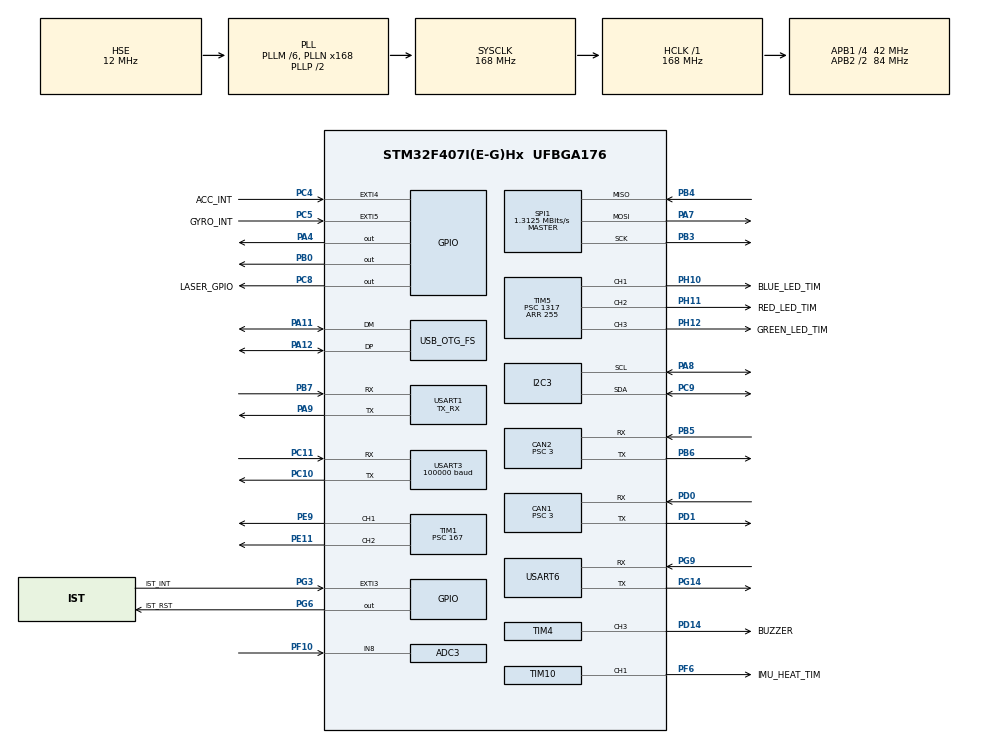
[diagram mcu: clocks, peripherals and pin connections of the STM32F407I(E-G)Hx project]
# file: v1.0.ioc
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ADC3.Channel-0\#ChannelRegularConversion=ADC_CHANNEL_8
ADC3.NbrOfConversionFlag=1
ADC3.Rank-0\#ChannelRegularConversion=1
ADC3.SamplingTime-0\#ChannelRegularConversion=ADC_SAMPLETIME_3CYCLES
CAN1.BS1=CAN_BS1_9TQ
CAN1.BS2=CAN_BS2_4TQ
CAN1.CalculateBaudRate=1000000
CAN1.CalculateTimeBit=1000
CAN1.CalculateTimeQuantum=71.42857142857143
CAN1.Mode=CAN_MODE_NORMAL
CAN1.NART=DISABLE
CAN1.Prescaler=3
CAN2.BS1=CAN_BS1_9TQ
CAN2.BS2=CAN_BS2_4TQ
CAN2.CalculateBaudRate=1000000
CAN2.CalculateTimeBit=1000
CAN2.CalculateTimeQuantum=71.42857142857143
CAN2.Prescaler=3
Dma.I2C3_RX.3.Direction=DMA_PERIPH_TO_MEMORY
Dma.I2C3_RX.3.FIFOMode=DMA_FIFOMODE_DISABLE
Dma.I2C3_RX.3.Instance=DMA1_Stream2
Dma.I2C3_RX.3.MemDataAlignment=DMA_MDATAALIGN_BYTE
Dma.I2C3_RX.3.MemInc=DMA_MINC_ENABLE
Dma.I2C3_RX.3.Mode=DMA_NORMAL
Dma.I2C3_RX.3.PeriphDataAlignment=DMA_PDATAALIGN_BYTE
Dma.I2C3_RX.3.PeriphInc=DMA_PINC_DISABLE
Dma.I2C3_RX.3.Priority=DMA_PRIORITY_LOW
Dma.I2C3_TX.4.Direction=DMA_MEMORY_TO_PERIPH
Dma.I2C3_TX.4.FIFOMode=DMA_FIFOMODE_DISABLE
Dma.I2C3_TX.4.Instance=DMA1_Stream4
Dma.I2C3_TX.4.MemDataAlignment=DMA_MDATAALIGN_BYTE
Dma.I2C3_TX.4.MemInc=DMA_MINC_ENABLE
Dma.I2C3_TX.4.Mode=DMA_NORMAL
Dma.I2C3_TX.4.PeriphDataAlignment=DMA_PDATAALIGN_BYTE
Dma.I2C3_TX.4.PeriphInc=DMA_PINC_DISABLE
Dma.I2C3_TX.4.Priority=DMA_PRIORITY_LOW
Dma.Request0=USART6_RX
Dma.Request1=USART3_RX
Dma.Request2=USART1_RX
Dma.Request3=I2C3_RX
Dma.Request4=I2C3_TX
Dma.Request5=SPI1_RX
Dma.Request6=SPI1_TX
Dma.Request7=USART6_TX
Dma.SPI1_RX.5.Direction=DMA_PERIPH_TO_MEMORY
Dma.SPI1_RX.5.FIFOMode=DMA_FIFOMODE_DISABLE
Dma.SPI1_RX.5.Instance=DMA2_Stream0
Dma.SPI1_RX.5.MemDataAlignment=DMA_MDATAALIGN_BYTE
Dma.SPI1_RX.5.MemInc=DMA_MINC_ENABLE
Dma.SPI1_RX.5.Mode=DMA_NORMAL
Dma.SPI1_RX.5.PeriphDataAlignment=DMA_PDATAALIGN_BYTE
Dma.SPI1_RX.5.PeriphInc=DMA_PINC_DISABLE
Dma.SPI1_RX.5.Priority=DMA_PRIORITY_LOW
Dma.SPI1_TX.6.Direction=DMA_MEMORY_TO_PERIPH
Dma.SPI1_TX.6.FIFOMode=DMA_FIFOMODE_DISABLE
Dma.SPI1_TX.6.Instance=DMA2_Stream3
Dma.SPI1_TX.6.MemDataAlignment=DMA_MDATAALIGN_BYTE
Dma.SPI1_TX.6.MemInc=DMA_MINC_ENABLE
Dma.SPI1_TX.6.Mode=DMA_NORMAL
Dma.SPI1_TX.6.PeriphDataAlignment=DMA_PDATAALIGN_BYTE
Dma.SPI1_TX.6.PeriphInc=DMA_PINC_DISABLE
Dma.SPI1_TX.6.Priority=DMA_PRIORITY_LOW
Dma.USART1_RX.2.Direction=DMA_PERIPH_TO_MEMORY
Dma.USART1_RX.2.FIFOMode=DMA_FIFOMODE_DISABLE
Dma.USART1_RX.2.Instance=DMA2_Stream5
Dma.USART1_RX.2.MemDataAlignment=DMA_MDATAALIGN_BYTE
Dma.USART1_RX.2.MemInc=DMA_MINC_ENABLE
Dma.USART1_RX.2.Mode=DMA_CIRCULAR
Dma.USART1_RX.2.PeriphDataAlignment=DMA_PDATAALIGN_BYTE
Dma.USART1_RX.2.PeriphInc=DMA_PINC_DISABLE
Dma.USART1_RX.2.Priority=DMA_PRIORITY_LOW
Dma.USART3_RX.1.Direction=DMA_PERIPH_TO_MEMORY
Dma.USART3_RX.1.FIFOMode=DMA_FIFOMODE_DISABLE
Dma.USART3_RX.1.Instance=DMA1_Stream1
Dma.USART3_RX.1.MemDataAlignment=DMA_MDATAALIGN_BYTE
Dma.USART3_RX.1.MemInc=DMA_MINC_ENABLE
Dma.USART3_RX.1.Mode=DMA_CIRCULAR
Dma.USART3_RX.1.PeriphDataAlignment=DMA_PDATAALIGN_BYTE
Dma.USART3_RX.1.PeriphInc=DMA_PINC_DISABLE
Dma.USART3_RX.1.Priority=DMA_PRIORITY_LOW
Dma.USART6_RX.0.Direction=DMA_PERIPH_TO_MEMORY
Dma.USART6_RX.0.FIFOMode=DMA_FIFOMODE_DISABLE
Dma.USART6_RX.0.Instance=DMA2_Stream1
Dma.USART6_RX.0.MemDataAlignment=DMA_MDATAALIGN_BYTE
Dma.USART6_RX.0.MemInc=DMA_MINC_ENABLE
Dma.USART6_RX.0.Mode=DMA_CIRCULAR
Dma.USART6_RX.0.PeriphDataAlignment=DMA_PDATAALIGN_BYTE
Dma.USART6_RX.0.PeriphInc=DMA_PINC_DISABLE
Dma.USART6_RX.0.Priority=DMA_PRIORITY_LOW
Dma.USART6_TX.7.Direction=DMA_MEMORY_TO_PERIPH
Dma.USART6_TX.7.FIFOMode=DMA_FIFOMODE_DISABLE
Dma.USART6_TX.7.Instance=DMA2_Stream6
Dma.USART6_TX.7.MemDataAlignment=DMA_MDATAALIGN_BYTE
Dma.USART6_TX.7.MemInc=DMA_MINC_ENABLE
Dma.USART6_TX.7.Mode=DMA_NORMAL
Dma.USART6_TX.7.PeriphDataAlignment=DMA_PDATAALIGN_BYTE
Dma.USART6_TX.7.PeriphInc=DMA_PINC_DISABLE
Dma.USART6_TX.7.Priority=DMA_PRIORITY_LOW
FREERTOS.INCLUDE_vTaskDelayUntil=1
FREERTOS.INCLUDE_xEventGroupSetBitFromISR=1
FREERTOS.INCLUDE_xTimerPendFunctionCall=1
FREERTOS.Tasks01=defaultTask,0,256,StartDefaultTask,Default,NULL,Dynamic,NULL,NULL
FREERTOS.configCHECK_FOR_STACK_OVERFLOW=1
FREERTOS.configGENERATE_RUN_TIME_STATS=1
FREERTOS.configMAX_PRIORITIES=15
FREERTOS.configMINIMAL_STACK_SIZE=256
FREERTOS.configTOTAL_HEAP_SIZE=40000
FREERTOS.configUSE_NEWLIB_REENTRANT=1
FREERTOS.configUSE_STATS_FORMATTING_FUNCTIONS=1
FREERTOS.configUSE_TIMERS=1
FREERTOS.configUSE_TRACE_FACILITY=1
I2C3.I2C_Mode=I2C_Fast
Mcu.Family=STM32F4
Mcu.Name=STM32F407I(E-G)Hx
Mcu.Package=UFBGA176
NVIC.CAN1_RX0_IRQn=true\:5\:0\:false\:false\:true\:true\:true\:true\:true
NVIC.CAN1_RX1_IRQn=true\:5\:0\:false\:false\:true\:true\:true\:true\:true
NVIC.CAN2_RX0_IRQn=true\:5\:0\:false\:false\:true\:true\:true\:true\:true
NVIC.CAN2_RX1_IRQn=true\:5\:0\:false\:false\:true\:true\:true\:true\:true
NVIC.DMA1_Stream1_IRQn=true\:5\:0\:false\:false\:true\:true\:false\:true\:true
NVIC.DMA1_Stream2_IRQn=true\:5\:0\:false\:false\:true\:true\:false\:true\:true
NVIC.DMA1_Stream4_IRQn=true\:5\:0\:false\:false\:true\:true\:false\:true\:true
NVIC.DMA2_Stream0_IRQn=true\:5\:0\:false\:false\:true\:true\:false\:true\:true
NVIC.DMA2_Stream1_IRQn=true\:5\:0\:false\:false\:true\:true\:false\:true\:true
NVIC.DMA2_Stream3_IRQn=true\:5\:0\:false\:false\:true\:true\:false\:true\:true
NVIC.DMA2_Stream5_IRQn=true\:5\:0\:false\:false\:true\:false\:false\:true\:true
NVIC.DMA2_Stream6_IRQn=true\:5\:0\:false\:false\:true\:true\:false\:true\:true
NVIC.EXTI3_IRQn=true\:5\:0\:false\:false\:true\:true\:true\:true\:true
NVIC.EXTI4_IRQn=true\:5\:0\:false\:false\:true\:true\:true\:true\:true
NVIC.EXTI9_5_IRQn=true\:5\:0\:false\:false\:true\:true\:true\:true\:true
NVIC.I2C3_ER_IRQn=true\:5\:0\:false\:false\:true\:true\:true\:true\:true
NVIC.OTG_FS_IRQn=true\:5\:0\:false\:false\:true\:true\:false\:true\:true
NVIC.PriorityGroup=NVIC_PRIORITYGROUP_4
NVIC.TIM2_IRQn=true\:0\:0\:false\:false\:true\:false\:false\:true\:true
NVIC.TIM3_IRQn=true\:5\:0\:false\:false\:true\:true\:true\:true\:true
NVIC.TimeBase=TIM2_IRQn
NVIC.TimeBaseIP=TIM2
NVIC.USART1_IRQn=true\:5\:0\:false\:false\:true\:true\:true\:true\:true
NVIC.USART3_IRQn=true\:5\:0\:false\:false\:true\:true\:true\:true\:true
NVIC.USART6_IRQn=true\:5\:0\:false\:false\:true\:true\:true\:true\:true
PA11.Mode=Device_Only
PA11.Signal=USB_OTG_FS_DM
PA12.Mode=Device_Only
PA12.Signal=USB_OTG_FS_DP
PA13.Mode=Serial_Wire
PA13.Signal=SYS_JTMS-SWDIO
PA14.Mode=Serial_Wire
PA14.Signal=SYS_JTCK-SWCLK
PA4.PinState=GPIO_PIN_SET
PA4.Signal=GPIO_Output
PA7.Mode=Full_Duplex_Master
PA7.Signal=SPI1_MOSI
PA8.GPIO_Pu=GPIO_PULLUP
PA8.Mode=I2C
PA8.Signal=I2C3_SCL
PA9.Mode=Asynchronous
PA9.Signal=USART1_TX
PB0.PinState=GPIO_PIN_SET
PB0.Signal=GPIO_Output
PB3.Mode=Full_Duplex_Master
PB3.Signal=SPI1_SCK
PB4.Mode=Full_Duplex_Master
PB4.Signal=SPI1_MISO
PB5.Mode=CAN_Activate
PB5.Signal=CAN2_RX
PB6.Mode=CAN_Activate
PB6.Signal=CAN2_TX
PB7.GPIO_PuPd=GPIO_NOPULL
PB7.Mode=Asynchronous
PB7.Signal=USART1_RX
PC10.Mode=Asynchronous
PC10.Signal=USART3_TX
PC11.Mode=Asynchronous
PC11.Signal=USART3_RX
PC4.GPIO_Label=ACC_INT
PC4.GPIO_ModeDefaultEXTI=GPIO_MODE_IT_FALLING
PC4.GPIO_PuPd=GPIO_PULLUP
PC4.Signal=GPXTI4
PC5.GPIO_Label=GYRO_INT
PC5.GPIO_ModeDefaultEXTI=GPIO_MODE_IT_FALLING
PC5.GPIO_PuPd=GPIO_PULLUP
PC5.Signal=GPXTI5
PC8.GPIO_Label=LASER_GPIO
PC8.PinState=GPIO_PIN_RESET
PC8.Signal=GPIO_Output
PC9.GPIO_Pu=GPIO_PULLUP
PC9.Mode=I2C
PC9.Signal=I2C3_SDA
PD0.Mode=CAN_Activate
PD0.Signal=CAN1_RX
PD1.Mode=CAN_Activate
PD1.Signal=CAN1_TX
PD14.GPIO_Label=BUZZER
PD14.Signal=S_TIM4_CH3
PE11.Signal=S_TIM1_CH2
PE9.Signal=S_TIM1_CH1
PF10.Mode=IN8
PF10.Signal=ADC3_IN8
PF6.GPIO_Label=IMU_HEAT_TIM
PF6.Signal=S_TIM10_CH1
PG14.Mode=Asynchronous
PG14.Signal=USART6_TX
PG3.GPIO_Label=IST_INT
PG3.GPIO_ModeDefaultEXTI=GPIO_MODE_IT_FALLING
PG3.GPIO_PuPd=GPIO_PULLUP
PG3.Signal=GPXTI3
PG6.GPIO_Label=IST_RST
PG6.Signal=GPIO_Output
PG9.Mode=Asynchronous
PG9.Signal=USART6_RX
PH0-OSC_IN.Mode=HSE-External-Oscillator
PH0-OSC_IN.Signal=RCC_OSC_IN
PH1-OSC_OUT.Mode=HSE-External-Oscillator
PH1-OSC_OUT.Signal=RCC_OSC_OUT
PH10.GPIO_Label=BLUE_LED_TIM
PH10.Signal=S_TIM5_CH1
PH11.GPIO_Label=RED_LED_TIM
PH11.Signal=S_TIM5_CH2
PH12.GPIO_Label=GREEN_LED_TIM
PH12.Signal=S_TIM5_CH3
ProjectManager.HeapSize=0x2000
ProjectManager.StackSize=0x4000
ProjectManager.TargetToolchain=STM32CubeIDE
RCC.48MHZClocksFreq_Value=48000000
RCC.AHBFreq_Value=168000000
RCC.APB1CLKDivider=RCC_HCLK_DIV4
RCC.APB1Freq_Value=42000000
RCC.APB1TimFreq_Value=84000000
RCC.APB2CLKDivider=RCC_HCLK_DIV2
RCC.APB2Freq_Value=84000000
RCC.APB2TimFreq_Value=168000000
RCC.CortexFreq_Value=168000000
RCC.HCLKFreq_Value=168000000
RCC.HSE_VALUE=12000000
RCC.HSI_VALUE=16000000
RCC.LSE_VALUE=32768
RCC.PLLM=6
RCC.PLLN=168
RCC.PLLQ=7
RCC.SYSCLKFreq_VALUE=168000000
RCC.SYSCLKSource=RCC_SYSCLKSOURCE_PLLCLK
RCC.VCOOutputFreq_Value=336000000
SH.S_TIM10_CH1.0=TIM10_CH1,PWM Generation1 CH1
SH.S_TIM1_CH1.0=TIM1_CH1,PWM Generation1 CH1
SH.S_TIM1_CH2.0=TIM1_CH2,PWM Generation2 CH2
SH.S_TIM4_CH3.0=TIM4_CH3,PWM Generation3 CH3
SH.S_TIM5_CH1.0=TIM5_CH1,PWM Generation1 CH1
SH.S_TIM5_CH2.0=TIM5_CH2,PWM Generation2 CH2
SH.S_TIM5_CH3.0=TIM5_CH3,PWM Generation3 CH3
SPI1.BaudRatePrescaler=SPI_BAUDRATEPRESCALER_64
SPI1.CalculateBaudRate=1.3125 MBits/s
SPI1.Direction=SPI_DIRECTION_2LINES
SPI1.Mode=SPI_MODE_MASTER
SPI1.VirtualType=VM_MASTER
TIM1.Channel-PWM\ Generation1\ CH1=TIM_CHANNEL_1
TIM1.Channel-PWM\ Generation2\ CH2=TIM_CHANNEL_2
TIM1.Period=19999
TIM1.Prescaler=167
TIM10.Channel=TIM_CHANNEL_1
TIM3.Channel-Output\ Compare1\ No\ Output=TIM_CHANNEL_1
TIM3.Period=1
TIM3.Prescaler=168-1
TIM4.Channel-PWM\ Generation3\ CH3=TIM_CHANNEL_3
TIM4.Period=1000-1
TIM4.Prescaler=1000-1
TIM5.AutoReloadPreload=TIM_AUTORELOAD_PRELOAD_ENABLE
TIM5.Channel-PWM\ Generation1\ CH1=TIM_CHANNEL_1
TIM5.Channel-PWM\ Generation2\ CH2=TIM_CHANNEL_2
TIM5.Channel-PWM\ Generation3\ CH3=TIM_CHANNEL_3
TIM5.OCFastMode_PWM-PWM\ Generation1\ CH1=TIM_OCFAST_ENABLE
TIM5.OCFastMode_PWM-PWM\ Generation2\ CH2=TIM_OCFAST_ENABLE
TIM5.OCFastMode_PWM-PWM\ Generation3\ CH3=TIM_OCFAST_ENABLE
TIM5.OCMode_PWM-PWM\ Generation2\ CH2=TIM_OCMODE_PWM1
TIM5.OCPolarity_1=TIM_OCPOLARITY_LOW
TIM5.OCPolarity_2=TIM_OCPOLARITY_LOW
TIM5.OCPolarity_3=TIM_OCPOLARITY_LOW
TIM5.Period=255
TIM5.Prescaler=1317
USART1.Mode=MODE_TX_RX
USART1.VirtualMode=VM_ASYNC
USART3.BaudRate=100000
USART3.Parity=PARITY_EVEN
USART3.VirtualMode=VM_ASYNC
USART3.WordLength=WORDLENGTH_9B
USART6.VirtualMode=VM_ASYNC
USB_DEVICE.CLASS_NAME_FS=CDC
USB_DEVICE.VirtualMode-CDC_FS=Cdc
USB_DEVICE.VirtualModeFS=Cdc_FS
USB_OTG_FS.VirtualMode=Device_Only
VP_FREERTOS_VS_CMSIS_V1.Mode=CMSIS_V1
VP_RNG_VS_RNG.Mode=RNG_Activate
VP_SYS_VS_tim2.Mode=TIM2
VP_TIM10_VS_ClockSourceINT.Mode=Enable_Timer
VP_TIM3_VS_ClockSourceINT.Mode=Internal
VP_TIM3_VS_no_output1.Mode=Output Compare1 No Output
VP_USB_DEVICE_VS_USB_DEVICE_CDC_FS.Mode=CDC_FS
board=custom

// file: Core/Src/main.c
/* USER CODE BEGIN Header */
/**
  ******************************************************************************
  * @file           : main.c
  * @brief          : Main program body
  ******************************************************************************
  * @attention
  *
  * <h2><center>&copy; Copyright (c) 2021 STMicroelectronics.
  * All rights reserved.</center></h2>
  *
  * This software component is licensed by ST under Ultimate Liberty license
  * SLA0044, the "License"; You may not use this file except in compliance with
  * the License. You may obtain a copy of the License at:
  *                             www.st.com/SLA0044
  *
  ******************************************************************************
  */
/* USER CODE END Header */
#include "main.h"
#include "cmsis_os.h"
#include "adc.h"
#include "can.h"
#include "dma.h"
#include "i2c.h"
#include "rng.h"
#include "spi.h"
#include "tim.h"
#include "usart.h"
#include "usb_device.h"
#include "gpio.h"

/* USER CODE BEGIN Includes */
#include "board_lib.h"
#include "startup_task.h"
/* USER CODE END Includes */

void SystemClock_Config(void);
void MX_FREERTOS_Init(void);

int main(void)
{

  /* MCU Configuration--------------------------------------------------------*/

  /* Reset of all peripherals, Initializes the Flash interface and the Systick. */
  HAL_Init();

  /* Configure the system clock */
  SystemClock_Config();

  /* Initialize all configured peripherals */
  MX_GPIO_Init();
  MX_DMA_Init();
  MX_CAN1_Init();
  MX_CAN2_Init();
  MX_TIM5_Init();
  MX_TIM10_Init();
  MX_USART1_UART_Init();
  MX_USART3_UART_Init();
  MX_USART6_UART_Init();
  MX_SPI1_Init();
  MX_I2C3_Init();
  MX_ADC3_Init();
  MX_TIM3_Init();
  MX_TIM4_Init();
  MX_TIM1_Init();
  MX_RNG_Init();
  /* USER CODE BEGIN 2 */
  startup_task();
  HAL_TIM_Base_Start(&htim3); //start micros clock
//  HAL_RNG_GenerateRandomNumber(hrng, random32bit)
  /* USER CODE END 2 */

  /* Call init function for freertos objects (in freertos.c) */
  MX_FREERTOS_Init();

  /* Start scheduler */
  osKernelStart();
  /* We should never get here as control is now taken by the scheduler */
  /* Infinite loop */
  while (1)
  {

  }
}

void SystemClock_Config(void)
{
  RCC_OscInitTypeDef RCC_OscInitStruct = {0};
  RCC_ClkInitTypeDef RCC_ClkInitStruct = {0};

  /** Configure the main internal regulator output voltage
  */
  __HAL_RCC_PWR_CLK_ENABLE();
  __HAL_PWR_VOLTAGESCALING_CONFIG(PWR_REGULATOR_VOLTAGE_SCALE1);

  /** Initializes the RCC Oscillators according to the specified parameters
  * in the RCC_OscInitTypeDef structure.
  */
  RCC_OscInitStruct.OscillatorType = RCC_OSCILLATORTYPE_HSE;
  RCC_OscInitStruct.HSEState = RCC_HSE_ON;
  RCC_OscInitStruct.PLL.PLLState = RCC_PLL_ON;
  RCC_OscInitStruct.PLL.PLLSource = RCC_PLLSOURCE_HSE;
  RCC_OscInitStruct.PLL.PLLM = 6;
  RCC_OscInitStruct.PLL.PLLN = 168;
  RCC_OscInitStruct.PLL.PLLP = RCC_PLLP_DIV2;
  RCC_OscInitStruct.PLL.PLLQ = 7;
  if (HAL_RCC_OscConfig(&RCC_OscInitStruct) != HAL_OK)
  {
    Error_Handler();
  }

  /** Initializes the CPU, AHB and APB buses clocks
  */
  RCC_ClkInitStruct.ClockType = RCC_CLOCKTYPE_HCLK|RCC_CLOCKTYPE_SYSCLK
                              |RCC_CLOCKTYPE_PCLK1|RCC_CLOCKTYPE_PCLK2;
  RCC_ClkInitStruct.SYSCLKSource = RCC_SYSCLKSOURCE_PLLCLK;
  RCC_ClkInitStruct.AHBCLKDivider = RCC_SYSCLK_DIV1;
  RCC_ClkInitStruct.APB1CLKDivider = RCC_HCLK_DIV4;
  RCC_ClkInitStruct.APB2CLKDivider = RCC_HCLK_DIV2;

  if (HAL_RCC_ClockConfig(&RCC_ClkInitStruct, FLASH_LATENCY_5) != HAL_OK)
  {
    Error_Handler();
  }
}

void HAL_TIM_PeriodElapsedCallback(TIM_HandleTypeDef *htim)
{
  if (htim->Instance == TIM2) {
    HAL_IncTick();
  }
}

void Error_Handler(void)
{
  __disable_irq();
  while (1)
  {
  }
}

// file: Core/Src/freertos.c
/* USER CODE BEGIN Header */
/**
 ******************************************************************************
 * File Name          : freertos.c
 * Description        : Code for freertos applications
 ******************************************************************************
 * @attention
 *
 * <h2><center>&copy; Copyright (c) 2021 STMicroelectronics.
 * All rights reserved.</center></h2>
 *
 * This software component is licensed by ST under Ultimate Liberty license
 * SLA0044, the "License"; You may not use this file except in compliance with
 * the License. You may obtain a copy of the License at:
 *                             www.st.com/SLA0044
 *
 ******************************************************************************
 */
/* USER CODE END Header */

#include "FreeRTOS.h"
#include "task.h"
#include "main.h"
#include "cmsis_os.h"

/* USER CODE BEGIN Includes */

#include "board_lib.h"
#include "startup_task.h"
#include "gimbal_control_task.h"
#include "movement_control_task.h"
#include "referee_processing_task.h"
#include "control_input_task.h"
#include "launcher_control_task.h"
#include "imu_processing_task.h"
#include "robot_config.h"
#include "buzzing_task.h"
#include "motor_config.h"

/* USER CODE END Includes */

/* USER CODE BEGIN PD */
//FreeRTOS definitions
#define ISR_SEMAPHORE_COUNT 1
#define QUEUE_SIZE 1

/* USER CODE END PD */

/* USER CODE BEGIN Variables */

//Input control task definitions
TaskHandle_t gimbal_control_task_handle;
TaskHandle_t movement_control_task_handle;
TaskHandle_t referee_processing_task_handle;
TaskHandle_t control_input_task_handle;
TaskHandle_t launcher_control_task_handle;
TaskHandle_t buzzing_task_handle;
TaskHandle_t motor_calib_task_handle;
TaskHandle_t usb_task_handle;
TaskHandle_t imu_processing_task_handle;
TaskHandle_t telemetry_task_handle;
TaskHandle_t hud_task_handle;

EventGroupHandle_t gimbal_event_group;
EventGroupHandle_t chassis_event_group;
EventGroupHandle_t launcher_event_group;

SemaphoreHandle_t usb_continue_semaphore;

QueueHandle_t gyro_data_queue;
QueueHandle_t accel_data_queue;
QueueHandle_t mag_data_queue;

QueueHandle_t telem_data_queue;
QueueHandle_t buzzing_task_msg;
QueueHandle_t xvr_data_queue;
QueueHandle_t uart_data_queue;

/* USER CODE END Variables */
osThreadId defaultTaskHandle;

void StartDefaultTask(void const * argument);

extern void MX_USB_DEVICE_Init(void);
void MX_FREERTOS_Init(void); /* (MISRA C 2004 rule 8.1) */

/* GetIdleTaskMemory prototype (linked to static allocation support) */
void vApplicationGetIdleTaskMemory( StaticTask_t **ppxIdleTaskTCBBuffer, StackType_t **ppxIdleTaskStackBuffer, uint32_t *pulIdleTaskStackSize );

/* GetTimerTaskMemory prototype (linked to static allocation support) */
void vApplicationGetTimerTaskMemory( StaticTask_t **ppxTimerTaskTCBBuffer, StackType_t **ppxTimerTaskStackBuffer, uint32_t *pulTimerTaskStackSize );

/* Hook prototypes */
void configureTimerForRunTimeStats(void);
unsigned long getRunTimeCounterValue(void);
void vApplicationStackOverflowHook(xTaskHandle xTask, signed char *pcTaskName);

/* USER CODE BEGIN 1 */
/* Functions needed when configGENERATE_RUN_TIME_STATS is on */
__weak void configureTimerForRunTimeStats(void) {

}

__weak unsigned long getRunTimeCounterValue(void) {
	return 0;
}
/* USER CODE END 1 */

/* USER CODE BEGIN 4 */
__weak void vApplicationStackOverflowHook(xTaskHandle xTask,
		signed char *pcTaskName) {
	/* Run time stack overflow checking is performed if
	 configCHECK_FOR_STACK_OVERFLOW is defined to 1 or 2. This hook function is
	 called if a stack overflow is detected. */
}
/* USER CODE END 4 */

/* USER CODE BEGIN GET_IDLE_TASK_MEMORY */
static StaticTask_t xIdleTaskTCBBuffer;
static StackType_t xIdleStack[configMINIMAL_STACK_SIZE];

void vApplicationGetIdleTaskMemory(StaticTask_t **ppxIdleTaskTCBBuffer,
		StackType_t **ppxIdleTaskStackBuffer, uint32_t *pulIdleTaskStackSize) {
	*ppxIdleTaskTCBBuffer = &xIdleTaskTCBBuffer;
	*ppxIdleTaskStackBuffer = &xIdleStack[0];
	*pulIdleTaskStackSize = configMINIMAL_STACK_SIZE;
	/* place for user code */
}
/* USER CODE END GET_IDLE_TASK_MEMORY */

/* USER CODE BEGIN GET_TIMER_TASK_MEMORY */
static StaticTask_t xTimerTaskTCBBuffer;
static StackType_t xTimerStack[configTIMER_TASK_STACK_DEPTH];

void vApplicationGetTimerTaskMemory(StaticTask_t **ppxTimerTaskTCBBuffer,
		StackType_t **ppxTimerTaskStackBuffer, uint32_t *pulTimerTaskStackSize) {
	*ppxTimerTaskTCBBuffer = &xTimerTaskTCBBuffer;
	*ppxTimerTaskStackBuffer = &xTimerStack[0];
	*pulTimerTaskStackSize = configTIMER_TASK_STACK_DEPTH;
	/* place for user code */
}
/* USER CODE END GET_TIMER_TASK_MEMORY */

void MX_FREERTOS_Init(void) {

  /* USER CODE BEGIN RTOS_SEMAPHORES */
	/* add semaphores, ... */
	gimbal_event_group = xEventGroupCreate();
	chassis_event_group = xEventGroupCreate();
	launcher_event_group = xEventGroupCreate();

	usb_continue_semaphore = xSemaphoreCreateBinary();

	//Controls when different task can execute

  /* USER CODE END RTOS_SEMAPHORES */

  /* USER CODE BEGIN RTOS_QUEUES */
	/* add queues, ... */
	gyro_data_queue = xQueueCreate(5, sizeof(gyro_data_t));
	accel_data_queue = xQueueCreate(5, sizeof(accel_data_t));
	mag_data_queue = xQueueCreate(5, sizeof(mag_data_t));
	//telem_data_queue = xQueueCreate(10, sizeof(telem_data_struct_t));
	buzzing_task_msg = xQueueCreate(48, sizeof(uint8_t));
	uart_data_queue = xQueueCreate(5, sizeof(ref_msg_t));

  /* USER CODE END RTOS_QUEUES */

  /* Create the thread(s) */
  /* definition and creation of defaultTask */
  osThreadDef(defaultTask, StartDefaultTask, osPriorityNormal, 0, 256);
  defaultTaskHandle = osThreadCreate(osThread(defaultTask), NULL);

  /* USER CODE BEGIN RTOS_THREADS */
	/* add threads, ... */
	//todo: adjust priorities
	//Threads creation
	xTaskCreate(imu_processing_task, "IMU_task",
	1024, (void*) 1, (UBaseType_t) 15,
			&imu_processing_task_handle);

	xTaskCreate(motor_calib_task, "motor_calib_task",
	configMINIMAL_STACK_SIZE, (void*) 1, (UBaseType_t) 9,
			&motor_calib_task_handle);

	if (gimbal_event_group == NULL) {
		//error handler implement next time!
	} else {
		xTaskCreate(gimbal_control_task, "gimbal_task",
		configMINIMAL_STACK_SIZE, (void*) 1, (UBaseType_t) 7,
				&gimbal_control_task_handle);

	}

	if (chassis_event_group == NULL) {
		//error handler
	} else {
		xTaskCreate(movement_control_task, "chassis_task",
		configMINIMAL_STACK_SIZE, (void*) 1, (UBaseType_t) 4,
				&movement_control_task_handle);
	}

	if (launcher_event_group == NULL) {
		//error handler
	} else {
		xTaskCreate(launcher_control_task, "launcher_task",
		configMINIMAL_STACK_SIZE, (void*) 1, (UBaseType_t) 4,
				&launcher_control_task_handle);
	}

	xTaskCreate(control_input_task, "RC_task",
	1024, (void*) 1, (UBaseType_t) 4,
			&control_input_task_handle);
	xTaskCreate(referee_processing_task, "referee_task", 2048, (void*) 1,
			(UBaseType_t) 2, &referee_processing_task_handle);
	xTaskCreate(buzzing_task, "buzzer_task",
	configMINIMAL_STACK_SIZE, (void*) 1, (UBaseType_t) 1, &buzzing_task_handle);

  /* USER CODE END RTOS_THREADS */

}

void StartDefaultTask(void const * argument)
{
  /* init code for USB_DEVICE */
  MX_USB_DEVICE_Init();
	for (;;) {
		osDelay(1);
	}
}
